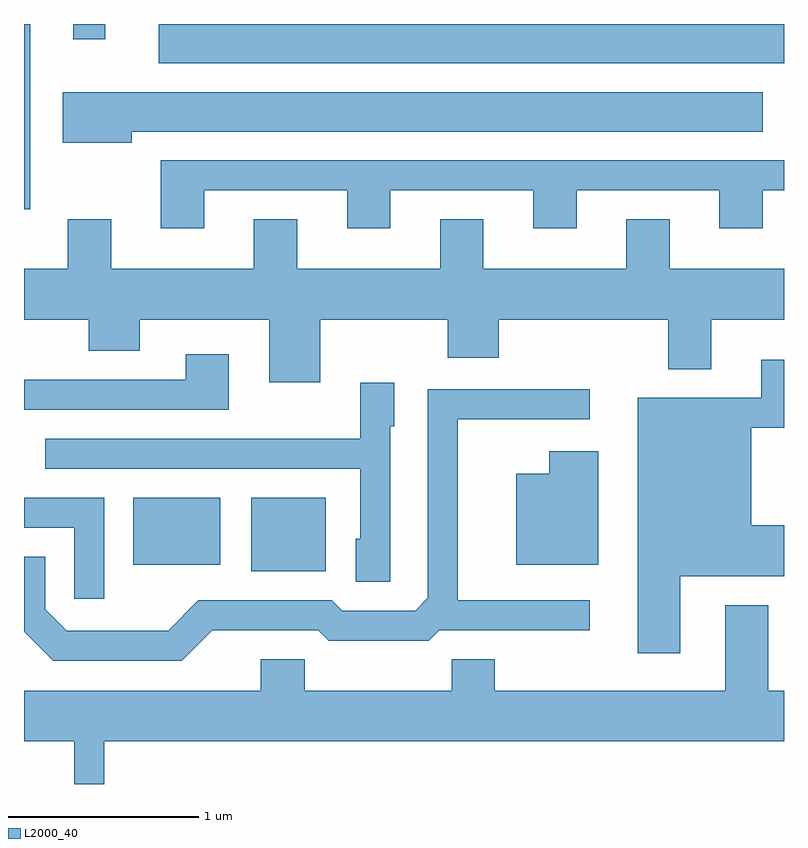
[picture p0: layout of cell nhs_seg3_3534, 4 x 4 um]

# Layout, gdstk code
import gdstk
lib = gdstk.Library(unit=1e-6, precision=1e-09)
def R(c, l, rs):  # rectangles x0, y0, x1, y1
    for r in rs: c.add(gdstk.rectangle(r[:2], r[2:], *l))
def P(c, l, *ps):  # polygons
    for p in ps: c.add(gdstk.Polygon(p, *l))
L2000_40 = (2000, 40)

nhs_seg3_3534 = lib.new_cell('nhs_seg3_3534')
R(nhs_seg3_3534, L2000_40, [(288.806,1249.011,289.199,1249.399), (288.186,1249.046,288.644,1249.399), (287.611,1250.916,287.644,1251.892), (288.321,1251.686,291.611,1251.892), (287.871,1251.813,288.039,1251.892)])
P(nhs_seg3_3534, L2000_40, [(288.179,1251.326),(291.499,1251.326),(291.499,1251.534),(287.816,1251.534),(287.816,1251.266),(288.179,1251.266)],
  [(288.559,1251.016),(289.311,1251.016),(289.311,1250.816),(289.539,1250.816),(289.539,1251.016),(290.291,1251.016),(290.291,1250.816),(290.519,1250.816),(290.519,1251.016),(291.271,1251.016),(291.271,1250.816),(291.499,1250.816),(291.499,1251.016),(291.611,1251.016),(291.611,1251.174),(288.331,1251.174),(288.331,1250.816),(288.559,1250.816)],
  [(289.169,1250.336),(289.841,1250.336),(289.841,1250.136),(290.109,1250.136),(290.109,1250.336),(291.001,1250.336),(291.001,1250.076),(291.229,1250.076),(291.229,1250.336),(291.611,1250.336),(291.611,1250.604),(291.009,1250.604),(291.009,1250.864),(290.781,1250.864),(290.781,1250.604),(290.029,1250.604),(290.029,1250.864),(289.801,1250.864),(289.801,1250.604),(289.049,1250.604),(289.049,1250.864),(288.821,1250.864),(288.821,1250.604),(288.069,1250.604),(288.069,1250.864),(287.841,1250.864),(287.841,1250.604),(287.611,1250.604),(287.611,1250.336),(287.951,1250.336),(287.951,1250.171),(288.219,1250.171),(288.219,1250.336),(288.901,1250.336),(288.901,1250.006),(289.169,1250.006)],
  [(288.689,1250.154),(288.461,1250.154),(288.461,1250.019),(287.611,1250.019),(287.611,1249.861),(288.689,1249.861)],
  [(291.064,1248.986),(291.611,1248.986),(291.611,1249.254),(291.439,1249.254),(291.439,1249.766),(291.611,1249.766),(291.611,1250.124),(291.491,1250.124),(291.491,1249.924),(290.841,1249.924),(290.841,1248.581),(291.064,1248.581)],
  [(289.539,1249.776),(289.559,1249.776),(289.559,1250.004),(289.381,1250.004),(289.381,1249.709),(287.723,1249.709),(287.723,1249.551),(289.381,1249.551),(289.381,1249.184),(289.356,1249.184),(289.356,1248.956),(289.539,1248.956)],
  [(288.602,1248.701),(289.159,1248.701),(289.214,1248.646),(289.742,1248.646),(289.797,1248.701),(290.588,1248.701),(290.588,1248.859),(289.894,1248.859),(289.894,1249.811),(290.588,1249.811),(290.588,1249.969),(289.736,1249.969),(289.736,1248.872),(289.669,1248.804),(289.287,1248.804),(289.232,1248.859),(288.529,1248.859),(288.369,1248.699),(287.837,1248.699),(287.724,1248.812),(287.724,1249.089),(287.611,1249.089),(287.611,1248.694),(287.764,1248.541),(288.442,1248.541)],
  [(290.634,1249.644),(290.376,1249.644),(290.376,1249.524),(290.201,1249.524),(290.201,1249.046),(290.634,1249.046)],
  [(288.034,1249.399),(287.611,1249.399),(287.611,1249.241),(287.876,1249.241),(287.876,1248.868),(288.034,1248.868)],
  [(288.034,1248.116),(291.611,1248.116),(291.611,1248.384),(291.529,1248.384),(291.529,1248.834),(291.301,1248.834),(291.301,1248.384),(290.089,1248.384),(290.089,1248.549),(289.861,1248.549),(289.861,1248.384),(289.089,1248.384),(289.089,1248.549),(288.856,1248.549),(288.856,1248.384),(287.611,1248.384),(287.611,1248.116),(287.876,1248.116),(287.876,1247.892),(288.034,1247.892)])

lib.write_gds('nhs_seg3_3534.gds')
